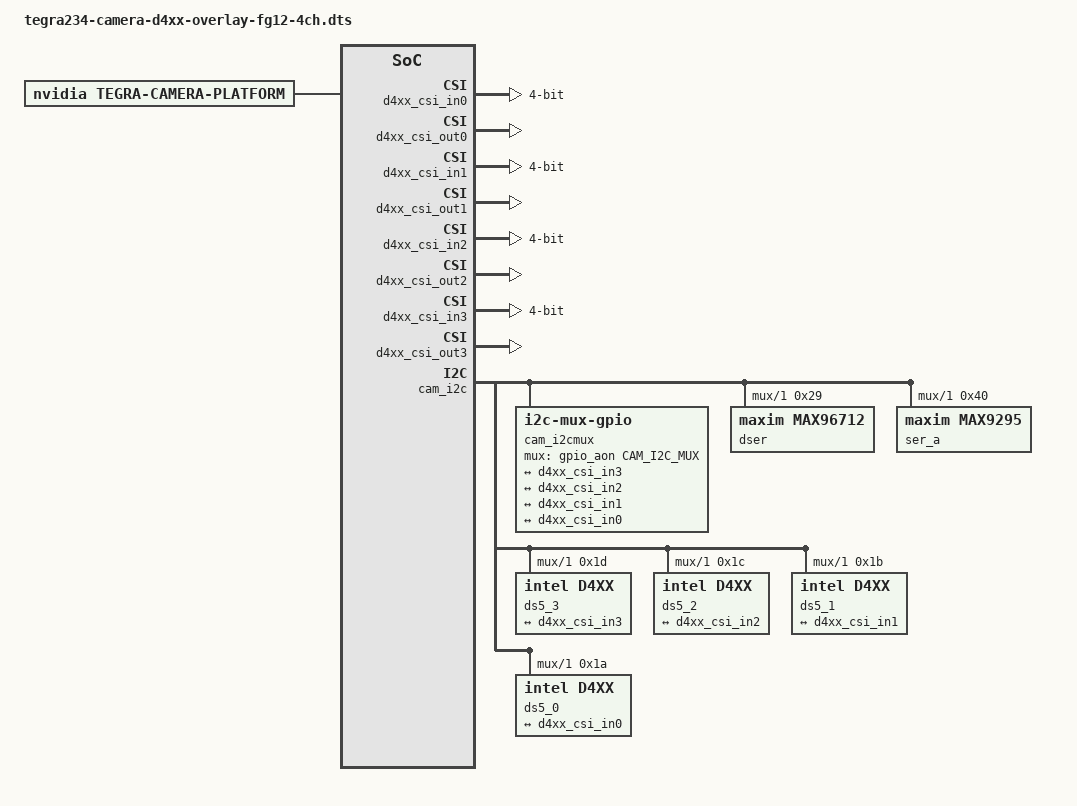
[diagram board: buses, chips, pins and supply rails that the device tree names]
// SPDX-License-Identifier: GPL-2.0-only
// SPDX-FileCopyrightText: Copyright (c) 2018-2023, INTEL CORPORATION.  All rights reserved.

/*
 * RealSense D457 (d4xx) overlay for the FangZhu FG12-4CH carrier board on
 * NVIDIA Jetson Orin Nano (p3768-0000 + p3767-xxxx).
 *
 * Board topology (single D457 on deserializer link A):
 *   D457 --GMSL2--> MAX9295 serializer (0x40) --> MAX96712 deserializer (0x29)
 *        --CSI-2--> Orin Nano CSI port C (port-index = 2 / serial_c), 2-lane.
 *
 * This overlay keeps the full D457 -> MAX9295 -> MAX96712 -> Orin path at
 * 2-lane. The FangZhu-specific MAX96712 hook below only enables board POC
 * power; MIPI output setup stays on the generic 2-lane MAX96712 path.
 *
 * Derived from the verified Seeed Orin Nano max96712 overlay, retargeted to the
 * Orin Nano p3768/p3767 compatible (so the overlay matches via JetsonIO /
 * extlinux OVERLAYS) and to the FG12-4CH deserializer I2C address (0x29, the
 * MAX96712 power-on default, confirmed on hardware via DEV_ID=0xA0 read).
 * The CSI port-index (2) follows the FangZhu FG12/FG24-4CH board routing.
 */

/dts-v1/;
/plugin/;

#include <dt-bindings/clock/tegra234-clock.h>
#include <dt-bindings/gpio/tegra234-gpio.h>
#include <dt-bindings/tegra234-p3767-0000-common.h>

/* camera control gpio definitions (from official FangZhu FG12-4CH device tree) */
#define CAM0_SYNC	TEGRA234_MAIN_GPIO(H, 6)
#define CAM1_SYNC	TEGRA234_MAIN_GPIO(AC, 0)
#define CAM_I2C_MUX	TEGRA234_AON_GPIO(CC, 3)

/ {
	overlay-name = "Jetson RealSense Camera D4xx with max96712 for FangZhu FG12-4CH on Orin Nano (link A)";
	jetson-header-name = "Jetson 22pin CSI Connector";
	compatible = JETSON_COMPATIBLE_P3768;

	fragment@0 {
		target-path = "/";
		__overlay__ {
			tegra-capture-vi {
				num-channels = <4>;
				ports {
					status = "okay";
					port@0 {
						status = "okay";
						reg = <0>;
						d4xx_vi_in0: endpoint {
							status = "okay";
							vc-id = <0>;
							port-index = <2>;
							bus-width = <4>;
							remote-endpoint = <&d4xx_csi_out0>;
						};
					};
					port@1 {
						status = "okay";
						reg = <1>;
						d4xx_vi_in1: endpoint {
							status = "okay";
							vc-id = <1>;
							port-index = <2>;
							bus-width = <4>;
							remote-endpoint = <&d4xx_csi_out1>;
						};
					};
					port@2 {
						status = "okay";
						reg = <2>;
						d4xx_vi_in2: endpoint {
							status = "okay";
							vc-id = <2>;
							port-index = <2>;
							bus-width = <4>;
							remote-endpoint = <&d4xx_csi_out2>;
						};
					};
					port@3 {
						status = "okay";
						reg = <3>;
						d4xx_vi_in3: endpoint {
							status = "okay";
							vc-id = <3>;
							port-index = <2>;
							bus-width = <4>;
							remote-endpoint = <&d4xx_csi_out3>;
						};
					};
				};
			};
			tegra-camera-platform {
				compatible = "nvidia, tegra-camera-platform";
				status = "okay";
				num_csi_lanes = <2>;
				max_lane_speed = <1500000>;
				min_bits_per_pixel = <8>;
				vi_peak_byte_per_pixel = <2>;
				vi_bw_margin_pct = <25>;
				max_pixel_rate = <160000>;
				isp_peak_byte_per_pixel = <5>;
				isp_bw_margin_pct = <25>;
				modules {
					status = "okay";
					module0 {
						status = "okay";
						badge = "d4xx_depth";
						position = "left";
						orientation = "1";
						drivernode0 {
							status = "okay";
							pcl_id = "v4l2_sensor";
							devname = "DS5 mux 2-001a";
							sysfs-device-tree = "/sys/firmware/devicetree/base/bus@0/cam_i2cmux/i2c@1/ds5@1a";
						};
					};
					module1 {
						status = "okay";
						badge = "d4xx_rgb";
						position = "left";
						orientation = "1";
						drivernode0 {
							status = "okay";
							pcl_id = "v4l2_sensor";
							devname = "DS5 mux 2-001b";
							sysfs-device-tree = "/sys/firmware/devicetree/base/bus@0/cam_i2cmux/i2c@1/ds5@1b";
						};
					};
					module2 {
						status = "okay";
						badge = "d4xx_Y8";
						position = "left";
						orientation = "1";
						drivernode0 {
							status = "okay";
							pcl_id = "v4l2_sensor";
							devname = "DS5 mux 2-001c";
							sysfs-device-tree = "/sys/firmware/devicetree/base/bus@0/cam_i2cmux/i2c@1/ds5@1c";
						};
					};
					module3 {
						status = "okay";
						badge = "d4xx_imu";
						position = "left";
						orientation = "1";
						drivernode0 {
							status = "okay";
							pcl_id = "v4l2_sensor";
							devname = "DS5 mux 2-001d";
							sysfs-device-tree = "/sys/firmware/devicetree/base/bus@0/cam_i2cmux/i2c@1/ds5@1d";
						};
					};
				};
			};
			bus@0 {
				host1x@13e00000 {
					nvcsi@15a00000 {
						num-channels = <4>;
						channel@0 {
							status = "okay";
							reg = <0>;
							ports {
								status = "okay";
								port@0 {
									status = "okay";
									reg = <0>;
									d4xx_csi_in0: endpoint@0 {
										status = "okay";
										port-index = <2>;
										bus-width = <4>;
										remote-endpoint = <&ds5_0_out>;
									};
								};
								port@1 {
									status = "okay";
									reg = <1>;
									d4xx_csi_out0: endpoint@1 {
										status = "okay";
										remote-endpoint = <&d4xx_vi_in0>;
									};
								};
							};
						};
						channel@1 {
							status = "okay";
							reg = <1>;
							ports {
								status = "okay";
								port@0 {
									status = "okay";
									reg = <0>;
									d4xx_csi_in1: endpoint@2 {
										status = "okay";
										port-index = <2>;
										bus-width = <4>;
										remote-endpoint = <&ds5_1_out>;
									};
								};
								port@1 {
									status = "okay";
									reg = <1>;
									d4xx_csi_out1: endpoint@3 {
										status = "okay";
										remote-endpoint = <&d4xx_vi_in1>;
									};
								};
							};
						};
						channel@2 {
							status = "okay";
							reg = <2>;
							ports {
								status = "okay";
								port@0 {
									status = "okay";
									reg = <0>;
									d4xx_csi_in2: endpoint@4 {
										status = "okay";
										port-index = <2>;
										bus-width = <4>;
										remote-endpoint = <&ds5_2_out>;
									};
								};
								port@1 {
									status = "okay";
									reg = <1>;
									d4xx_csi_out2: endpoint@5 {
										status = "okay";
										remote-endpoint = <&d4xx_vi_in2>;
									};
								};
							};
						};
						channel@3 {
							status = "okay";
							reg = <3>;
							ports {
								status = "okay";
								port@0 {
									status = "okay";
									reg = <0>;
									d4xx_csi_in3: endpoint@6 {
										status = "okay";
										port-index = <2>;
										bus-width = <4>;
										remote-endpoint = <&ds5_3_out>;
									};
								};
								port@1 {
									status = "okay";
									reg = <1>;
									d4xx_csi_out3: endpoint@7 {
										status = "okay";
										remote-endpoint = <&d4xx_vi_in3>;
									};
								};
							};
						};
					};
				};

				/*
				 * FG12-4CH routes the camera I2C through a GPIO-selected mux
				 * (CAM_I2C_MUX = AON_GPIO(CC,3)).  The deserializer I2C is on the
				 * i2c@1 branch (gpio HIGH), matching the official FangZhu
					 * tegra234-p3767-camera-p3768-fzcam-fg12-4ch device tree. The
					 * CSI video output is configured separately above as
					 * port-index 2 / serial_c.
				 */
				cam_i2cmux {
					compatible = "i2c-mux-gpio";
					#address-cells = <1>;
					#size-cells = <0>;
					i2c-parent = <&cam_i2c>;
					mux-gpios = <&gpio_aon CAM_I2C_MUX GPIO_ACTIVE_HIGH>;

					i2c@1 {
						reg = <1>;
						#address-cells = <1>;
						#size-cells = <0>;

					dser: max96712@29 {
						status = "okay";
						reg = <0x29>;
						compatible = "maxim,max96712";
						csi-mode = "2x4";
						/* 4-lane CSI output towards the Jetson (1300 Mbps/lane). */
						lane_cnt = <4>;
						link-mask = <0x1>;
						channel = "a";
						fangzhu,fg12-reverse-lane-polarity;
						fangzhu,fg12-poc-enable;
					};

					ser_a: max9295_a@40 {
						status = "okay";
						compatible = "maxim,max9295";
						reg = <0x40>;
						maxim,gmsl-dser-device = <&dser>;
					};

					ds5_3: ds5@1d {
						status = "okay";
						def-addr = <0x10>;
						reg = <0x1d>;
						override_reg = <0x1a>;
						compatible = "intel,d4xx";
						use_sensor_mode_id = "true";
						cam-type = "IMU";
						nvidia,gmsl-ser-device = <&ser_a>;
						nvidia,gmsl-dser-device = <&dser>;
						ports {
							#address-cells = <1>;
							#size-cells = <0>;

							port@0 {
								reg = <0>;
								ds5_3_out: endpoint {
									vc-id = <3>;
									port-index = <2>;
									bus-width = <2>;
									remote-endpoint = <&d4xx_csi_in3>;
								};
							};
						};
						mode0 {
							pixel_t = "grey_y16";
							num_lanes = "4";
							csi_pixel_bit_depth = "16";
							active_w = "640";
							active_h = "480";
							tegra_sinterface = "serial_c";
							mclk_khz = "24000";
							pix_clk_hz = "74250000";
							serdes_pix_clk_hz = "325000000"; /* 4 lanes x 1300 Mbps / 16 bpp */
							line_length = "1280"; /* 2200 */
							embedded_metadata_height = "0";
						};
						gmsl-link {
							src-csi-port = "b";
							dst-csi-port = "a";
							serdes-csi-link = "a";
							csi-mode = "1x4";
							st-vc = <0>;
							vc-id = <3>;
							num-lanes = <2>;
						};
					};

					ds5_2: ds5@1c {
						status = "okay";
						def-addr = <0x10>;
						reg = <0x1c>;
						override_reg = <0x1a>;
						compatible = "intel,d4xx";
						use_sensor_mode_id = "true";
						cam-type = "Y8";
						nvidia,gmsl-ser-device = <&ser_a>;
						nvidia,gmsl-dser-device = <&dser>;
						ports {
							#address-cells = <1>;
							#size-cells = <0>;

							port@0 {
								reg = <0>;
								ds5_2_out: endpoint {
									vc-id = <2>;
									port-index = <2>;
									bus-width = <2>;
									remote-endpoint = <&d4xx_csi_in2>;
								};
							};
						};
						/* mode0: Y8, mode1: depth D16 */
						mode0 {
							pixel_t = "grey_y16";
							num_lanes = "4";
							csi_pixel_bit_depth = "16";
							active_w = "1280";
							active_h = "720";
							tegra_sinterface = "serial_c";
							mclk_khz = "24000";
							pix_clk_hz = "74250000";
							serdes_pix_clk_hz = "325000000"; /* 4 lanes x 1300 Mbps / 16 bpp */
							line_length = "1280"; /* 2200 */
							embedded_metadata_height = "1";
						};
						gmsl-link {
							src-csi-port = "b";
							dst-csi-port = "a";
							serdes-csi-link = "a";
							csi-mode = "1x4";
							st-vc = <0>;
							vc-id = <2>;
							num-lanes = <2>;
						};
					};

					ds5_1: ds5@1b {
						status = "okay";
						def-addr = <0x10>;
						reg = <0x1b>;
						override_reg = <0x1a>;
						compatible = "intel,d4xx";
						use_sensor_mode_id = "true";
						cam-type = "RGB";
						nvidia,gmsl-ser-device = <&ser_a>;
						nvidia,gmsl-dser-device = <&dser>;
						ports {
							#address-cells = <1>;
							#size-cells = <0>;

							port@0 {
								reg = <0>;
								ds5_1_out: endpoint {
									vc-id = <1>;
									port-index = <2>;
									bus-width = <2>;
									remote-endpoint = <&d4xx_csi_in1>;
								};
							};
						};
						mode0 {
							pixel_t = "grey_y16";
							num_lanes = "4";
							csi_pixel_bit_depth = "16";
							active_w = "1920";
							active_h = "1080";
							tegra_sinterface = "serial_c";
							mclk_khz = "24000";
							pix_clk_hz = "74250000";
							serdes_pix_clk_hz = "325000000"; /* 4 lanes x 1300 Mbps / 16 bpp */
							line_length = "1280"; /* 2200 */
							embedded_metadata_height = "1";
						};
						gmsl-link {
							src-csi-port = "b";
							dst-csi-port = "a";
							serdes-csi-link = "a";
							csi-mode = "1x4";
							st-vc = <0>;
							vc-id = <1>;
							num-lanes = <2>;
						};
					};

					ds5_0: ds5@1a {
						status = "okay";
						def-addr = <0x10>;
						reg = <0x1a>;
						compatible = "intel,d4xx";
						use_sensor_mode_id = "true";
						cam-type = "Depth";
						nvidia,gmsl-ser-device = <&ser_a>;
						nvidia,gmsl-dser-device = <&dser>;
						ports {
							#address-cells = <1>;
							#size-cells = <0>;

							port@0 {
								reg = <0>;
								ds5_0_out: endpoint {
									vc-id = <0>;
									port-index = <2>;
									bus-width = <2>;
									remote-endpoint = <&d4xx_csi_in0>;
								};
							};
						};
						mode0 {
							pixel_t = "grey_y16";
							num_lanes = "4";
							csi_pixel_bit_depth = "16";
							active_w = "1280";
							active_h = "720";
							tegra_sinterface = "serial_c";
							mclk_khz = "24000";
							pix_clk_hz = "74250000";
							serdes_pix_clk_hz = "325000000"; /* 4 lanes x 1300 Mbps / 16 bpp */
							line_length = "1280"; /* 2200 */
							embedded_metadata_height = "1";
						};
						gmsl-link {
							src-csi-port = "b";
							dst-csi-port = "a";
							serdes-csi-link = "a";
							csi-mode = "1x4";
							st-vc = <0>;
							vc-id = <0>;
							num-lanes = <2>;
						};
					};
					};
				};
			};
		};
	};
};
